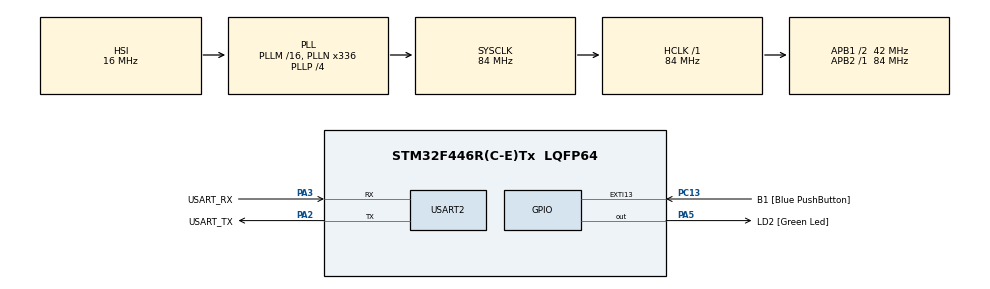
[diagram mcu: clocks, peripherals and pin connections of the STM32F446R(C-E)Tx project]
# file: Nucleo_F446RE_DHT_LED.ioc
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Mcu.Family=STM32F4
Mcu.Name=STM32F446R(C-E)Tx
Mcu.Package=LQFP64
NVIC.PriorityGroup=NVIC_PRIORITYGROUP_0
PA13.GPIO_Label=TMS
PA13.Mode=Serial_Wire
PA13.Signal=SYS_JTMS-SWDIO
PA14.GPIO_Label=TCK
PA14.Mode=Serial_Wire
PA14.Signal=SYS_JTCK-SWCLK
PA2.GPIO_Label=USART_TX
PA2.Mode=Asynchronous
PA2.Signal=USART2_TX
PA3.GPIO_Label=USART_RX
PA3.Mode=Asynchronous
PA3.Signal=USART2_RX
PA5.GPIO_Label=LD2 [Green Led]
PA5.Signal=GPIO_Output
PB3.GPIO_Label=SWO
PB3.Signal=SYS_JTDO-SWO
PC13.GPIO_Label=B1 [Blue PushButton]
PC13.GPIO_ModeDefaultEXTI=GPIO_MODE_IT_FALLING
PC13.Signal=GPXTI13
PC14-OSC32_IN.Mode=LSE-External-Oscillator
PC14-OSC32_IN.Signal=RCC_OSC32_IN
PC15-OSC32_OUT.Mode=LSE-External-Oscillator
PC15-OSC32_OUT.Signal=RCC_OSC32_OUT
PH0-OSC_IN.Mode=HSE-External-Oscillator
PH0-OSC_IN.Signal=RCC_OSC_IN
PH1-OSC_OUT.Mode=HSE-External-Oscillator
PH1-OSC_OUT.Signal=RCC_OSC_OUT
ProjectManager.HeapSize=0x200
ProjectManager.StackSize=0x400
ProjectManager.TargetToolchain=CMake
RCC.48MHZClocksFreq_Value=84000000
RCC.AHBFreq_Value=84000000
RCC.APB1CLKDivider=RCC_HCLK_DIV2
RCC.APB1Freq_Value=42000000
RCC.APB1TimFreq_Value=84000000
RCC.APB2Freq_Value=84000000
RCC.APB2TimFreq_Value=84000000
RCC.CortexFreq_Value=84000000
RCC.FLatency-AdvancedSettings=FLASH_LATENCY_2
RCC.HCLKFreq_Value=84000000
RCC.HSE_VALUE=8000000
RCC.HSI_VALUE=16000000
RCC.PLLN=336
RCC.PLLP=RCC_PLLP_DIV4
RCC.SYSCLKFreq_VALUE=84000000
RCC.SYSCLKSource=RCC_SYSCLKSOURCE_PLLCLK
RCC.USBFreq_Value=168000000
RCC.VCOOutputFreq_Value=336000000
USART2.VirtualMode=VM_ASYNC
board=NUCLEO-F446RE

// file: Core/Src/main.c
/* USER CODE BEGIN Header */
/**
  ******************************************************************************
  * @file           : main.c
  * @brief          : Main program body
  ******************************************************************************
  * @attention
  *
  * Copyright (c) 2025 STMicroelectronics.
  * All rights reserved.
  *
  * This software is licensed under terms that can be found in the LICENSE file
  * in the root directory of this software component.
  * If no LICENSE file comes with this software, it is provided AS-IS.
  *
  ******************************************************************************
  */
/* USER CODE END Header */
#include "main.h"

/* USER CODE BEGIN Includes */
#include "core_cm4.h"  // For DWT microsecond delay
#include <stdio.h>
#include <stdbool.h>

/* USER CODE END Includes */

/* USER CODE BEGIN PD */
#define TEMP_THRESHOLD_C 40

/* USER CODE END PD */

UART_HandleTypeDef huart2;

/* USER CODE BEGIN PV */

static bool s_above_threshold = false; // track threshold crossing
/* USER CODE END PV */

void SystemClock_Config(void);
static void MX_GPIO_Init(void);
static void MX_USART2_UART_Init(void);

/* USER CODE BEGIN 0 */
#define DHT_PORT GPIOA
#define DHT_PIN  GPIO_PIN_1   // PA1

// External LED on PB5 removed; use onboard LD2 (PA5)

static uint32_t dwt_cycles_per_us = 0;

static inline void DWT_Delay_Init(void)
{
  CoreDebug->DEMCR |= CoreDebug_DEMCR_TRCENA_Msk; // enable DWT
  DWT->CTRL |= DWT_CTRL_CYCCNTENA_Msk;            // start cycle counter
  dwt_cycles_per_us = (SystemCoreClock / 1000000U);
}

static inline void DWT_Delay_us(uint32_t us)
{
  uint32_t cycles = dwt_cycles_per_us * us;
  uint32_t start = DWT->CYCCNT;
  while ((DWT->CYCCNT - start) < cycles) { ; }
}

static void DHT_SetPinAsOutput(void)
{
  GPIO_InitTypeDef GPIO_InitStruct = {0};
  GPIO_InitStruct.Pin = DHT_PIN;
  GPIO_InitStruct.Mode = GPIO_MODE_OUTPUT_PP;
  GPIO_InitStruct.Pull = GPIO_NOPULL;
  GPIO_InitStruct.Speed = GPIO_SPEED_FREQ_LOW;
  HAL_GPIO_Init(DHT_PORT, &GPIO_InitStruct);
}

static void DHT_SetPinAsInput(void)
{
  GPIO_InitTypeDef GPIO_InitStruct = {0};
  GPIO_InitStruct.Pin = DHT_PIN;
  GPIO_InitStruct.Mode = GPIO_MODE_INPUT;
  GPIO_InitStruct.Pull = GPIO_NOPULL; // use external pull-up to 3.3V
  HAL_GPIO_Init(DHT_PORT, &GPIO_InitStruct);
}

static void DHT_Start(void)
{
  DHT_SetPinAsOutput();
  HAL_GPIO_WritePin(DHT_PORT, DHT_PIN, GPIO_PIN_RESET);
  HAL_Delay(20);                 // >18 ms
  HAL_GPIO_WritePin(DHT_PORT, DHT_PIN, GPIO_PIN_SET);
  DWT_Delay_us(30);              // 20–40 us
  DHT_SetPinAsInput();
}

static uint8_t DHT_CheckResponse(void)
{
  uint32_t timeout = 0;
  // Wait for DHT to pull low (~80us)
  while (HAL_GPIO_ReadPin(DHT_PORT, DHT_PIN) == GPIO_PIN_SET)
  {
    if (++timeout > 10000) return 0; // timeout
  }
  DWT_Delay_us(80);
  // Then high (~80us)
  if (HAL_GPIO_ReadPin(DHT_PORT, DHT_PIN) == GPIO_PIN_RESET) return 0;
  DWT_Delay_us(80);
  return 1;
}

static uint8_t DHT_ReadByte(void)
{
  // Measure the duration of the HIGH pulse for each bit.
  // DHT11: '0' -> ~26-28us HIGH, '1' -> ~70us HIGH
  uint8_t byte = 0;
  for (uint8_t i = 0; i < 8; i++)
  {
    // Wait for the 50us LOW that precedes each bit
    uint32_t guard = 0;
    while (HAL_GPIO_ReadPin(DHT_PORT, DHT_PIN) == GPIO_PIN_RESET)
    {
      if (++guard > 30000) break; // ~timeout
    }

    // Now line should go HIGH; measure how long it stays HIGH
    uint32_t start = DWT->CYCCNT;
    guard = 0;
    while (HAL_GPIO_ReadPin(DHT_PORT, DHT_PIN) == GPIO_PIN_SET)
    {
      if (++guard > 100000) break; // safety
    }
    uint32_t width_cycles = DWT->CYCCNT - start;

    // Threshold ~50us
    if (width_cycles > (50U * dwt_cycles_per_us))
    {
      byte |= (1U << (7U - i));
    }
  }
  return byte;
}

// Read DHT11; returns 1 on success, fills humidity (int) and temperature (int)
static uint8_t DHT11_Read(uint8_t *humidity, uint8_t *temperature)
{
  uint8_t rh_int, rh_dec, t_int, t_dec, sum;
  DHT_Start();
  if (!DHT_CheckResponse()) return 0;
  rh_int = DHT_ReadByte();
  rh_dec = DHT_ReadByte();
  t_int  = DHT_ReadByte();
  t_dec  = DHT_ReadByte();
  sum    = DHT_ReadByte();
  if (((uint8_t)(rh_int + rh_dec + t_int + t_dec)) != sum) return 0;
  if (humidity) *humidity = rh_int;
  if (temperature) *temperature = t_int;
  return 1;
}

/* USER CODE END 0 */

int main(void)
{

  /* MCU Configuration--------------------------------------------------------*/

  /* Reset of all peripherals, Initializes the Flash interface and the Systick. */
  HAL_Init();

  /* Configure the system clock */
  SystemClock_Config();

  /* Initialize all configured peripherals */
  MX_GPIO_Init();
  MX_USART2_UART_Init();
  /* USER CODE BEGIN 2 */
  DWT_Delay_Init();      // enable microsecond delay
  // Keep DHT line idle high
  DHT_SetPinAsInput();
  // Let DHT11 power-up stabilize
  HAL_Delay(1500);
  printf("UART hazir - DHT11 okumaya baslaniyor\r\n");

  /* USER CODE END 2 */

  /* Infinite loop */
  while (1)
  {

    /* USER CODE BEGIN 3 */
    uint8_t hum = 0, temp = 0;
    if (DHT11_Read(&hum, &temp))
    {
      printf("sicaklik: %u C, nem: %u %%\r\n", (unsigned)temp, (unsigned)hum);
      bool now_above = (temp >= TEMP_THRESHOLD_C);
      if (now_above && !s_above_threshold)
      {
        // Rising edge: flash once, then keep ON
        for (int i = 0; i < 10; ++i)
        {
          HAL_GPIO_TogglePin(LD2_GPIO_Port, LD2_Pin);
          HAL_Delay(100);
        }
        HAL_GPIO_WritePin(LD2_GPIO_Port, LD2_Pin, GPIO_PIN_SET);
      }
      else if (!now_above && s_above_threshold)
      {
        // Falling edge: turn OFF
        HAL_GPIO_WritePin(LD2_GPIO_Port, LD2_Pin, GPIO_PIN_RESET);
      }
      else
      {
        // Steady state: maintain without flashing
        HAL_GPIO_WritePin(LD2_GPIO_Port, LD2_Pin, now_above ? GPIO_PIN_SET : GPIO_PIN_RESET);
      }
      s_above_threshold = now_above;
      HAL_Delay(1000);
    }
    else
    {
      // On read error, report and turn LED off and wait before retry
      // Try to discriminate: if line stays high, sensor didn't respond
      if (HAL_GPIO_ReadPin(DHT_PORT, DHT_PIN) == GPIO_PIN_SET)
        printf("DHT yanit yok (line=HIGH)\r\n");
      else
        printf("DHT okuma/Checksum hatasi\r\n");
      HAL_GPIO_WritePin(LD2_GPIO_Port, LD2_Pin, GPIO_PIN_RESET);
      HAL_Delay(1000);
    }
  }
  /* USER CODE END 3 */
}

void SystemClock_Config(void)
{
  RCC_OscInitTypeDef RCC_OscInitStruct = {0};
  RCC_ClkInitTypeDef RCC_ClkInitStruct = {0};

  /** Configure the main internal regulator output voltage
  */
  __HAL_RCC_PWR_CLK_ENABLE();
  __HAL_PWR_VOLTAGESCALING_CONFIG(PWR_REGULATOR_VOLTAGE_SCALE3);

  /** Initializes the RCC Oscillators according to the specified parameters
  * in the RCC_OscInitTypeDef structure.
  */
  RCC_OscInitStruct.OscillatorType = RCC_OSCILLATORTYPE_HSI;
  RCC_OscInitStruct.HSIState = RCC_HSI_ON;
  RCC_OscInitStruct.HSICalibrationValue = RCC_HSICALIBRATION_DEFAULT;
  RCC_OscInitStruct.PLL.PLLState = RCC_PLL_ON;
  RCC_OscInitStruct.PLL.PLLSource = RCC_PLLSOURCE_HSI;
  RCC_OscInitStruct.PLL.PLLM = 16;
  RCC_OscInitStruct.PLL.PLLN = 336;
  RCC_OscInitStruct.PLL.PLLP = RCC_PLLP_DIV4;
  RCC_OscInitStruct.PLL.PLLQ = 2;
  RCC_OscInitStruct.PLL.PLLR = 2;
  if (HAL_RCC_OscConfig(&RCC_OscInitStruct) != HAL_OK)
  {
    Error_Handler();
  }

  /** Initializes the CPU, AHB and APB buses clocks
  */
  RCC_ClkInitStruct.ClockType = RCC_CLOCKTYPE_HCLK|RCC_CLOCKTYPE_SYSCLK
                              |RCC_CLOCKTYPE_PCLK1|RCC_CLOCKTYPE_PCLK2;
  RCC_ClkInitStruct.SYSCLKSource = RCC_SYSCLKSOURCE_PLLCLK;
  RCC_ClkInitStruct.AHBCLKDivider = RCC_SYSCLK_DIV1;
  RCC_ClkInitStruct.APB1CLKDivider = RCC_HCLK_DIV2;
  RCC_ClkInitStruct.APB2CLKDivider = RCC_HCLK_DIV1;

  if (HAL_RCC_ClockConfig(&RCC_ClkInitStruct, FLASH_LATENCY_2) != HAL_OK)
  {
    Error_Handler();
  }
}

static void MX_USART2_UART_Init(void)
{

  huart2.Instance = USART2;
  huart2.Init.BaudRate = 115200;
  huart2.Init.WordLength = UART_WORDLENGTH_8B;
  huart2.Init.StopBits = UART_STOPBITS_1;
  huart2.Init.Parity = UART_PARITY_NONE;
  huart2.Init.Mode = UART_MODE_TX_RX;
  huart2.Init.HwFlowCtl = UART_HWCONTROL_NONE;
  huart2.Init.OverSampling = UART_OVERSAMPLING_16;
  if (HAL_UART_Init(&huart2) != HAL_OK)
  {
    Error_Handler();
  }

}

static void MX_GPIO_Init(void)
{
  GPIO_InitTypeDef GPIO_InitStruct = {0};

  /* GPIO Ports Clock Enable */
  __HAL_RCC_GPIOC_CLK_ENABLE();
  __HAL_RCC_GPIOH_CLK_ENABLE();
  __HAL_RCC_GPIOA_CLK_ENABLE();
  __HAL_RCC_GPIOB_CLK_ENABLE();

  /*Configure GPIO pin Output Level */
  HAL_GPIO_WritePin(LD2_GPIO_Port, LD2_Pin, GPIO_PIN_RESET);

  /*Configure GPIO pin : B1_Pin */
  GPIO_InitStruct.Pin = B1_Pin;
  GPIO_InitStruct.Mode = GPIO_MODE_IT_FALLING;
  GPIO_InitStruct.Pull = GPIO_NOPULL;
  HAL_GPIO_Init(B1_GPIO_Port, &GPIO_InitStruct);

  /*Configure GPIO pin : LD2_Pin */
  GPIO_InitStruct.Pin = LD2_Pin;
  GPIO_InitStruct.Mode = GPIO_MODE_OUTPUT_PP;
  GPIO_InitStruct.Pull = GPIO_NOPULL;
  GPIO_InitStruct.Speed = GPIO_SPEED_FREQ_LOW;
  HAL_GPIO_Init(LD2_GPIO_Port, &GPIO_InitStruct);

/* USER CODE BEGIN MX_GPIO_Init_2 */
  // No external LED configuration; using onboard LD2 only
/* USER CODE END MX_GPIO_Init_2 */
}

/* USER CODE BEGIN 4 */
int __io_putchar(int ch)
{
  HAL_UART_Transmit(&huart2, (uint8_t *)&ch, 1, HAL_MAX_DELAY);
  return ch;
}

/* USER CODE END 4 */

void Error_Handler(void)
{
  __disable_irq();
  while (1)
  {
  }
}
